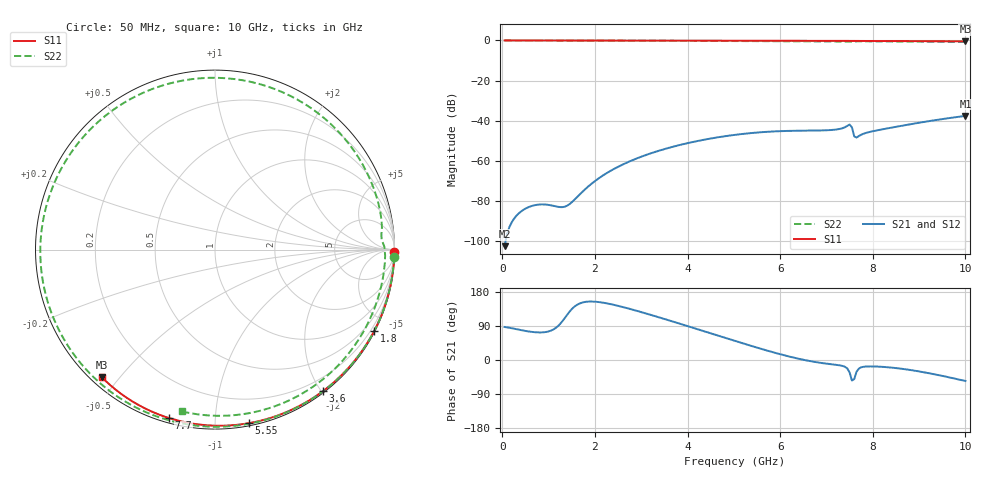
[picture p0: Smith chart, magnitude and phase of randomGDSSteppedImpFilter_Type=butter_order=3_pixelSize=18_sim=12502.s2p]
! freq	dB(S11)	phase(S11)	dB(S12)	phase(S12)
!  dB(S21)	phase(S21)	dB(S22)	phase(S22)
!S-par simulation data
#  GHz  S  DB  R 50
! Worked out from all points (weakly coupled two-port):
!   200 points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, 50 MHz to 10 GHz, reference 50 ohm
!   highest |S21| = -37.65 dB at 10 GHz (marker M1); lowest = -102.7 dB at 50 MHz (marker M2)
!   lowest |S11| = -0.4 dB at 10 GHz (marker M3), VSWR 39.12, Z = 1.54 - j22.4 ohm
!   |S11| at or under -10 dB: nowhere
!   |S22| runs from -0.7 to 0.0 dB; largest |S21 - S12| = 0
!   S11 on the Smith chart (normalised r, x): 50 MHz: open; 1.8 GHz: 0.04, -4.17; 3.6 GHz: 0.02, -2.02; 5.55 GHz: 0.02, -1.22; 7.7 GHz: 0.02, -0.76; 10 GHz: 0.03, -0.45
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0.05  -0.00 -0.8  -102.67 87.2  -102.67 87.2  -0.01 -2.3
0.7  -0.01 -10.6  -82.22 73.4  -82.22 73.4  -0.04 -31.4
1.5  -0.03 -22.6  -80.76 134.2  -80.76 134.2  -0.08 -66.3
1.75  -0.03 -26.3  -75.10 152.3  -75.10 152.3  -0.10 -77.0
1.8  -0.03 -27.0  -74.02 153.4  -74.02 153.4  -0.10 -79.1
2.15  -0.04 -32.1  -67.74 151.8  -67.74 151.8  -0.12 -93.8
2.55  -0.05 -37.9  -62.48 141.4  -62.48 141.4  -0.14 -110.5
3.4  -0.07 -50.0  -54.91 112.0  -54.91 112.0  -0.18 -145.8
3.6  -0.07 -52.8  -53.57 104.6  -53.57 104.6  -0.19 -154.3
4.35  -0.09 -63.0  -49.57 76.2  -49.57 76.2  -0.25 172.9
5.05  -0.11 -72.4  -47.03 49.4  -47.03 49.4  -0.30 139.6
5.55  -0.13 -78.8  -45.87 30.8  -45.87 30.8  -0.35 113.8
6.15  -0.15 -86.4  -45.16 10.5  -45.16 10.5  -0.39 80.8
6.7  -0.18 -93.2  -44.98 -4.1  -44.98 -4.1  -0.43 49.5
7.15  -0.21 -98.7  -44.61 -11.9  -44.61 -11.9  -0.46 24.1
7.5  -0.23 -102.9  -41.96 -33.0  -41.96 -33.0  -0.62 5.1
7.55  -0.23 -103.4  -43.41 -54.3  -43.41 -54.3  -0.63 3.4
7.6  -0.23 -104.0  -47.87 -50.1  -47.87 -50.1  -0.50 0.9
7.7  -0.24 -105.2  -47.69 -22.5  -47.69 -22.5  -0.45 -4.8
8.35  -0.29 -112.9  -43.74 -19.4  -43.74 -19.4  -0.51 -36.8
9.15  -0.36 -122.0  -40.50 -33.4  -40.50 -33.4  -0.60 -70.6
10  -0.44 -131.7  -37.65 -55.4  -37.65 -55.4  -0.73 -101.5
